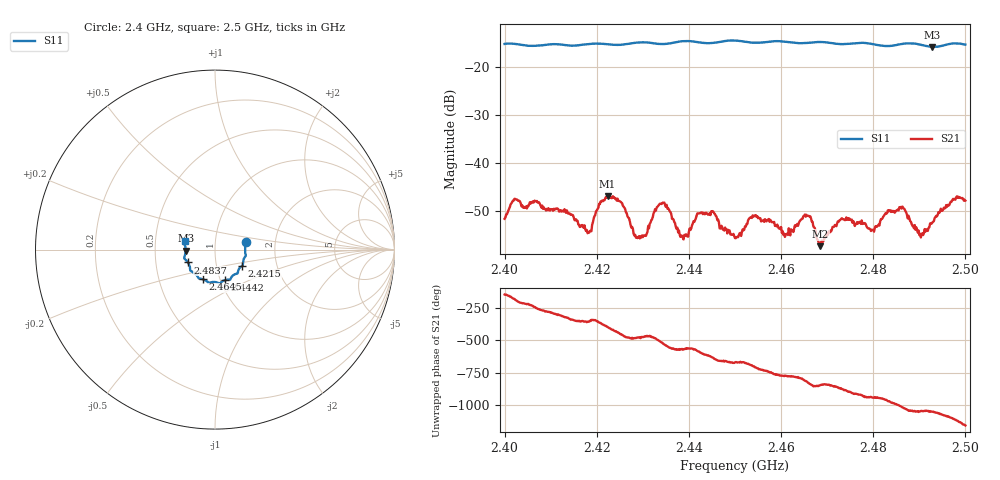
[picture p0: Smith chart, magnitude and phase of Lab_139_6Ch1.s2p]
# Hz S RI R 50
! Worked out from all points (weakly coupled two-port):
!   601 points, 2.4 GHz to 2.5 GHz, reference 50 ohm
!   highest |S21| = -46.85 dB at 2.4223 GHz (marker M1); lowest = -57.3 dB at 2.4685 GHz (marker M2)
!   lowest |S11| = -15.7 dB at 2.4928 GHz (marker M3), VSWR 1.39, Z = 36 - j0.378 ohm
!   |S11| at or under -10 dB: start of sweep to end of sweep
!   S12 and S22 are empty: the file has one direction only
!   S11 on the Smith chart (normalised r, x): 2.4 GHz: 1.41, +0.12; 2.4215 GHz: 1.33, -0.25; 2.4442 GHz: 1.05, -0.37; 2.4645 GHz: 0.83, -0.29; 2.4837 GHz: 0.73, -0.11; 2.5 GHz: 0.71, +0.07
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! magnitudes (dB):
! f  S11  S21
! 2.4 GHz  -15.1  -51.6
! 2.407 GHz  -15.5  -47.8
! 2.4167 GHz  -15.3  -53.1
! 2.4185 GHz  -15.1  -54.1
! 2.4215 GHz  -15.1  -47.7
! 2.4223 GHz  -15.2  -46.9
! 2.429 GHz  -14.8  -55.4
! 2.4333 GHz  -15.1  -48.8
! 2.4387 GHz  -14.5  -55.5
! 2.4442 GHz  -15.0  -50.7
! 2.45 GHz  -14.4  -55.6
! 2.454 GHz  -14.9  -51.1
! 2.461 GHz  -14.7  -54.8
! 2.4645 GHz  -15.0  -51.6
! 2.4667 GHz  -14.8  -52.1
! 2.4685 GHz  -14.7  -57.3
! 2.4728 GHz  -15.1  -51.8
! 2.4833 GHz  -15.6  -50.0
! 2.4837 GHz  -15.5  -49.8
! 2.4905 GHz  -15.3  -54.7
! 2.4928 GHz  -15.7  -52.3
! 2.5 GHz  -15.2  -47.8
